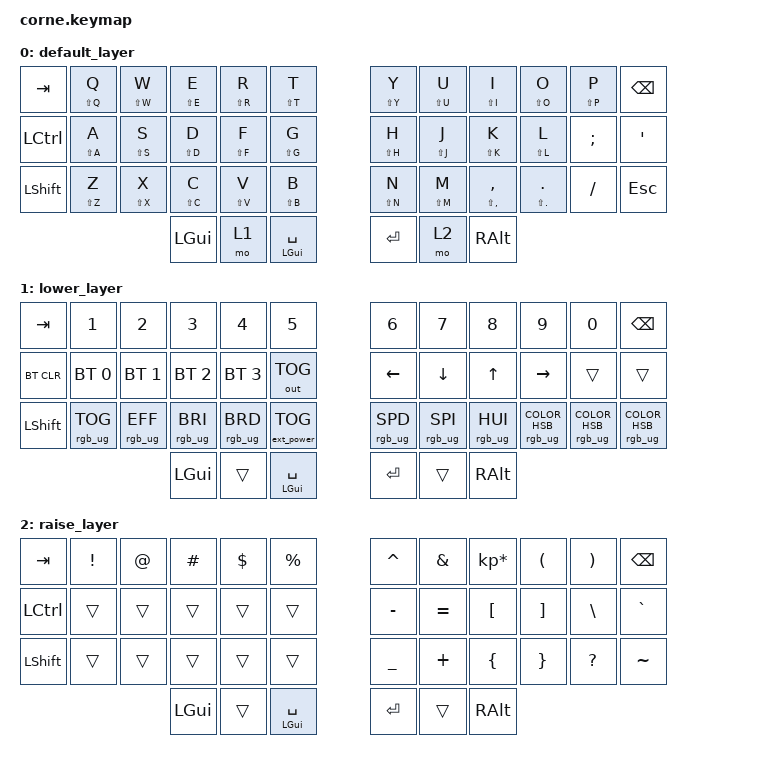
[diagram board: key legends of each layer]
/*
 * Copyright (c) 2020 The ZMK Contributors
 *
 * SPDX-License-Identifier: MIT
 */

#include <behaviors.dtsi>
#include <dt-bindings/zmk/keys.h>
#include <dt-bindings/zmk/bt.h>
#include <dt-bindings/zmk/rgb.h>
#include <dt-bindings/zmk/outputs.h>
#include <dt-bindings/zmk/ext_power.h>

/*
 * Temporarily here because nice nano v2 spi is not defined on ZMk Yet
 * Source: https://github.com/zmkfirmware/zmk/blob/main/app/boards/shields/reviung41/boards/nice_nano.overlay
 * GitHub Issue: https://github.com/zmkfirmware/zmk/issues/885
 */

&spi1 {
   compatible = "nordic,nrf-spim";
   status = "okay";
   mosi-pin = <6>;
   // Unused pins, needed for SPI definition, but not used by the ws2812 driver itself.
   sck-pin = <5>;
   miso-pin = <7>;

   led_strip: ws2812@0 {
      compatible = "worldsemi,ws2812-spi";
      label = "WS2812";

      /* SPI */
      reg = <0>; /* ignored, but necessary for SPI bindings */
      spi-max-frequency = <4000000>;

      /* WS2812 */
      chain-length = <27>; /* arbitrary; change at will */
      spi-one-frame = <0x70>;
      spi-zero-frame = <0x40>;
   };
};

/ {
   chosen {
      zmk,underglow = &led_strip;
   };
};


/*
 * Above Temporarily here because nice nano v2 spi is not defined on ZMk Yet
 * Source: https://github.com/zmkfirmware/zmk/blob/main/app/boards/shields/reviung41/boards/nice_nano.overlay
 * GitHub Issue: https://github.com/zmkfirmware/zmk/issues/885
 */

/ {
   behaviors {
       as: auto_shift {
               compatible = "zmk,behavior-hold-tap";
               label = "AutoShift";
               #binding-cells = <2>;
               tapping-term-ms = <200>;
               quick_tap_ms = <0>;
               flavor = "tap-preferred";
               bindings = <&kp>, <&kp>;
       };
    };

   keymap {
                compatible = "zmk,keymap";

                default_layer {
// -----------------------------------------------------------------------------------------
// |  TAB |  Q  |  W  |  E  |  R  |  T  |   |  Y  |  U   |  I  |  O  |  P  | BKSP |
// | CTRL |  A  |  S  |  D  |  F  |  G  |   |  H  |  J   |  K  |  L  |  ;  |  '   |
// | SHFT |  Z  |  X  |  C  |  V  |  B  |   |  N  |  M   |  ,  |  .  |  /  | ESC  |
//                    | GUI | LWR | SPC |   | ENT | RSE  | ALT |
                        bindings = <
   &kp TAB   &as LS(Q) Q &as LS(W) W &as LS(E) E &as LS(R) R &as LS(T) T   &as LS(Y) Y &as LS(U) U &as LS(I) I &as LS(O) O &as LS(P) P  &kp BSPC
   &kp LCTRL &as LS(A) A &as LS(S) S &as LS(D) D &as LS(F) F &as LS(G) G   &as LS(H) H &as LS(J) J &as LS(K) K &as LS(L) L &kp SEMI     &kp SQT
   &kp LSHFT &as LS(Z) Z &as LS(X) X &as LS(C) C &as LS(V) V &as LS(B) B   &as LS(N) N &as LS(M) M &as LS(COMMA) COMMA &as LS(DOT) DOT &kp FSLH &kp ESC
//   &mt LALT ESC   &as LS(Q) Q &as LS(W) W &as LS(E) E &as LS(R) R &as LS(T) T   &as LS(Y) Y &as LS(U) U &as LS(I) I &as LS(O) O &as LS(P) P &kp BSPC   
//   &mt LCTRL TAB  &as LS(A) A &as LS(S) S &as LS(D) D &as LS(F) F &as LS(G) G   &as LS(H) H &as LS(J) J &as LS(K) K &as LS(L) L &kp SEMI &kp SQT
//   &mt LSHFT LPAR &as LS(Z) Z &as LS(X) X &as LS(C) C &as LS(V) V &as LS(B) B   &as LS(N) N &as LS(M) M &as LS(COMMA) COMMA &as LS(DOT) DOT &as LS(FSLH) FSLH &mt RSHIFT PAR
                  &kp LGUI &mo 1 &mt LGUI SPACE   &kp RET &mo 2 &kp RALT
                        >;
                };
                lower_layer {
// -----------------------------------------------------------------------------------------
// |  TAB |  1  |  2  |  3  |  4  |  5  |   |  6  |  7  |  8  |  9  |  0  | BKSP |
// | BTCLR| BT1 | BT2 | BT3 | BT4 |USBTt|   | LFT | DWN |  UP | RGT |     |      |
// | SHFT |RGBto|RGBef|RGB+ |RGB- |EPTOG|   |RGBspd|  RGBspi   | Hue|  Blue   |  White   |  Green    |
//                    | GUI |     | SPC |   | ENT |     | ALT |
                        bindings = <
   &kp TAB    &kp N1       &kp N2       &kp N3       &kp N4       &kp N5         &kp N6   &kp N7   &kp N8 &kp N9    &kp N0 &kp BSPC
   &bt BT_CLR &bt BT_SEL 0 &bt BT_SEL 1 &bt BT_SEL 2 &bt BT_SEL 3 &out OUT_TOG   &kp LEFT &kp DOWN &kp UP &kp RIGHT &trans &trans
   &kp LSHFT  &rgb_ug RGB_TOG     &rgb_ug RGB_EFF     &rgb_ug RGB_BRI     &rgb_ug RGB_BRD     &ext_power EP_TOG   &rgb_ug RGB_SPD &rgb_ug RGB_SPI &rgb_ug RGB_HUI &rgb_ug RGB_COLOR_HSB(206,20,94) &rgb_ug RGB_COLOR_HSB(65,0,100) &rgb_ug RGB_COLOR_HSB(65,100,100)
                                   &kp LGUI     &trans       &mt LGUI SPACE      &kp RET  &trans   &kp RALT
                        >;
                };

                raise_layer {
// -----------------------------------------------------------------------------------------
// |  TAB |  !  |  @  |  #  |  $  |  %  |   |  ^  |  &  |  *  |  (  |  )  | BKSP |
// | CTRL |     |     |     |     |     |   |  -  |  =  |  [  |  ]  |  \  |  `   |
// | SHFT |     |     |     |     |     |   |  _  |  +  |  {  |  }  |  ?  |  ~   |
//                    | GUI |     | SPC |   | ENT |     | ALT |
                        bindings = <
   &kp  TAB  &kp EXCL &kp AT &kp HASH &kp DLLR &kp PRCNT   &kp CARET &kp AMPS  &kp KP_MULTIPLY &kp LPAR &kp RPAR &kp BSPC
   &kp LCTRL &trans   &trans &trans   &trans   &trans      &kp MINUS &kp EQUAL &kp LBKT        &kp RBKT &kp BSLH &kp GRAVE
   &kp LSHFT &trans   &trans &trans   &trans   &trans      &kp UNDER &kp PLUS  &kp LBRC        &kp RBRC &kp QMARK &kp TILDE
                          &kp LGUI &trans   &mt LGUI SPACE   &kp RET   &trans    &kp RALT
                        >;
                };
        };
};
